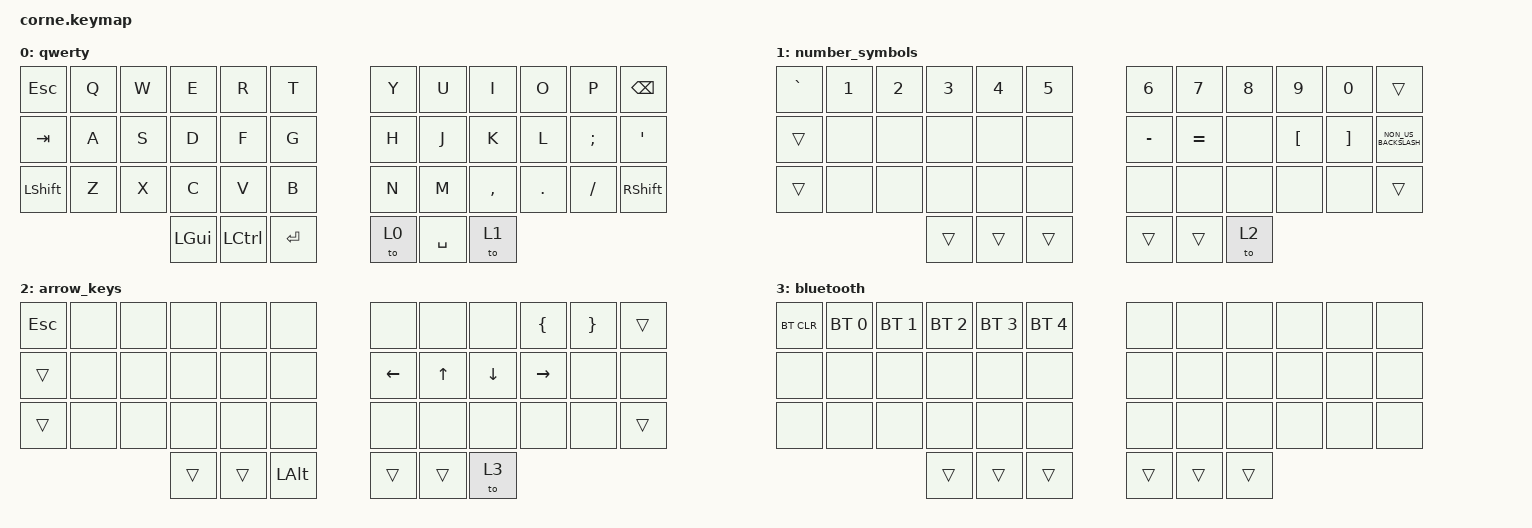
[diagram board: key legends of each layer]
/*
 * Copyright (c) 2020 The ZMK Contributors
 *
 * SPDX-License-Identifier: MIT
 */

#include <behaviors.dtsi>
#include <dt-bindings/zmk/bt.h>
#include <dt-bindings/zmk/keys.h>

/ {
    combos {
        compatible = "zmk,combos";

        NumRow {
            bindings = <&mo 1>;
            key-positions = <36 37>;
            layers = <0>;
        };

        RShift {
            bindings = <&kp RIGHT_SHIFT>;
            key-positions = <19>;
            timeout-ms = <50>;
            layers = <0>;
        };

        LShift {
            bindings = <&kp LSHIFT>;
            key-positions = <16>;
            timeout-ms = <50>;
            layers = <0>;
        };
    };

    keymap {
        compatible = "zmk,keymap";

        qwerty {
            // -----------------------------------------------------------------------------------------
            // |  TAB |  Q  |  W  |  E  |  R  |  T  |   |  Y  |  U   |  I  |  O  |  P  | BKSP |
            // | CTRL |  A  |  S  |  D  |  F  |  G  |   |  H  |  J   |  K  |  L  |  ;  |  '   |
            // | SHFT |  Z  |  X  |  C  |  V  |  B  |   |  N  |  M   |  ,  |  .  |  /  | ESC  |
            //                    | GUI | LWR | SPC |   | ENT | RSE  | ALT |

            bindings = <
&kp ESC    &kp Q  &kp W  &kp E     &kp R      &kp T      &kp Y  &kp U      &kp I      &kp O    &kp P     &kp BSPC
&kp TAB    &kp A  &kp S  &kp D     &kp F      &kp G      &kp H  &kp J      &kp K      &kp L    &kp SEMI  &kp SQT
&kp LSHFT  &kp Z  &kp X  &kp C     &kp V      &kp B      &kp N  &kp M      &kp COMMA  &kp DOT  &kp FSLH  &kp RIGHT_SHIFT
                         &kp LGUI  &kp LCTRL  &kp RET    &to 0  &kp SPACE  &to 1
            >;
        };

        number_symbols {
            // -----------------------------------------------------------------------------------------
            // |  TAB |  1  |  2  |  3  |  4  |  5  |   |  6  |  7  |  8  |  9  |  0  | BKSP |
            // | BTCLR| BT1 | BT2 | BT3 | BT4 | BT5 |   | LFT | DWN |  UP | RGT |     |      |
            // | SHFT |     |     |     |     |     |   |     |     |     |     |     |      |
            //                    | GUI |     | SPC |   | ENT |     | ALT |

            bindings = <
&kp GRAVE  &kp N1  &kp N2  &kp N3  &kp N4  &kp N5    &kp N6     &kp N7     &kp N8  &kp N9            &kp N0             &trans
&trans     &none   &none   &none   &none   &none     &kp MINUS  &kp EQUAL  &none   &kp LEFT_BRACKET  &kp RIGHT_BRACKET  &kp NON_US_BACKSLASH
&trans     &none   &none   &none   &none   &none     &none      &none      &none   &none             &none              &trans
                           &trans  &trans  &trans    &trans     &trans     &to 2
            >;
        };

        arrow_keys {
            // -----------------------------------------------------------------------------------------
            // |  TAB |  !  |  @  |  #  |  $  |  %  |   |  ^  |  &  |  *  |  (  |  )  | BKSP |
            // | CTRL |     |     |     |     |     |   |  -  |  =  |  [  |  ]  |  \  |  `   |
            // | SHFT |     |     |     |     |     |   |  _  |  +  |  {  |  }  | "|" |  ~   |
            //                    | GUI |     | SPC |   | ENT |     | ALT |

            bindings = <
&kp ESCAPE  &none  &none  &none   &none   &none       &none           &none         &none           &kp LEFT_BRACE   &kp RIGHT_BRACE  &trans
&trans      &none  &none  &none   &none   &none       &kp LEFT_ARROW  &kp UP_ARROW  &kp DOWN_ARROW  &kp RIGHT_ARROW  &none            &none
&trans      &none  &none  &none   &none   &none       &none           &none         &none           &none            &none            &trans
                          &trans  &trans  &kp LALT    &trans          &trans        &to 3
            >;
        };

        bluetooth {
            bindings = <
&bt BT_CLR  &bt BT_SEL 0  &bt BT_SEL 1  &bt BT_SEL 2  &bt BT_SEL 3  &bt BT_SEL 4    &none   &none   &none   &none  &none  &none
&none       &none         &none         &none         &none         &none           &none   &none   &none   &none  &none  &none
&none       &none         &none         &none         &none         &none           &none   &none   &none   &none  &none  &none
                                        &trans        &trans        &trans          &trans  &trans  &trans
            >;
        };
    };
};
